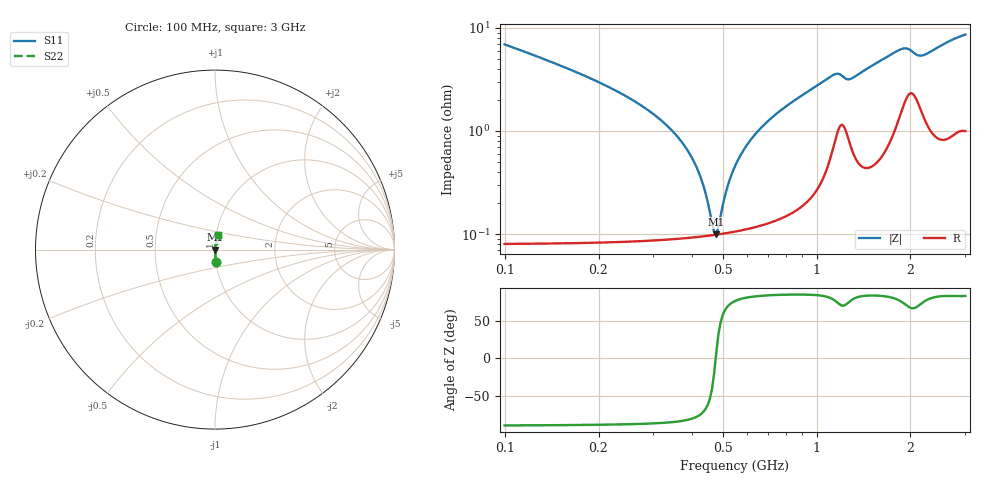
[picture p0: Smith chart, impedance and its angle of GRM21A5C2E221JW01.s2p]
!Murata Part Number: GRM21A5C2E221JW01
!These Parameters are Measured in Series Mode Connection
!Data Generated on Mar 30, 2021
!  o--ll--o
!Port1  Port2
!  o------o
!Operation Temp=25[degC], DC Bias Voltage=0[V]
!Freq. Start=100[MHz] Stop=3[GHz] 401[Steps]
# Hz S RI R 50
!Freq.(Hz) S11(Real) S11(Imag) S21(Real) S21(Imag) S12(Real) S12(Imag) S22(Real) S22(Imag)
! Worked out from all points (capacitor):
!   401 points, 100 MHz to 3 GHz, reference 50 ohm
!   read as one part in series: C = 220 pF near 114.5 MHz
!   lowest |Z| = 99.5 mohm at 477 MHz (marker M1)
!   series resonance near 475 MHz, so ESL is about 510 pH
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1e8  0.00555 -0.0687  0.9944 0.0687  0.9944 0.0687  0.00555 -0.0687
3.1025e8  0.00105 -0.0134  0.9989 0.0134  0.9989 0.0134  0.00105 -0.0134
3.6825e8  0.000966 -0.00788  0.999 0.00788  0.999 0.00788  0.000966 -0.00788
4.19e8  0.000954 -0.00386  0.999 0.00386  0.999 0.00386  0.000954 -0.00386
4.335e8  0.000958 -0.00281  0.999 0.00281  0.999 0.00281  0.000958 -0.00281
4.625e8  0.000974 -0.000818  0.999 0.000818  0.999 0.000818  0.000974 -0.000818
4.77e8  0.000986 0.000132  0.999 -0.000132  0.999 -0.000132  0.000986 0.000132
4.8425e8  0.000992 0.000596  0.999 -0.000596  0.999 -0.000596  0.000992 0.000596
5.1325e8  0.00103 0.00239  0.999 -0.00239  0.999 -0.00239  0.00103 0.00239
5.35e8  0.00106 0.00368  0.9989 -0.00368  0.9989 -0.00368  0.00106 0.00368
5.8575e8  0.00114 0.00655  0.9989 -0.00655  0.9989 -0.00655  0.00114 0.00655
6.5825e8  0.00131 0.0104  0.9987 -0.0104  0.9987 -0.0104  0.00131 0.0104
7.525e8  0.0016 0.015  0.9984 -0.015  0.9984 -0.015  0.0016 0.015
1.0715e9  0.00499 0.0309  0.995 -0.0309  0.995 -0.0309  0.00499 0.0309
1.16575e9  0.0107 0.034  0.9893 -0.034  0.9893 -0.034  0.0107 0.034
1.28175e9  0.00826 0.0306  0.9917 -0.0306  0.9917 -0.0306  0.00826 0.0306
1.55e9  0.00682 0.0445  0.9932 -0.0445  0.9932 -0.0445  0.00682 0.0445
1.869e9  0.0185 0.0584  0.9815 -0.0584  0.9815 -0.0584  0.0185 0.0584
2.03575e9  0.0251 0.0512  0.9749 -0.0512  0.9749 -0.0512  0.0251 0.0512
2.18075e9  0.0171 0.0503  0.9829 -0.0503  0.9829 -0.0503  0.0171 0.0503
2.5215e9  0.0126 0.0662  0.9874 -0.0662  0.9874 -0.0662  0.0126 0.0662
3e9  0.017 0.0835  0.983 -0.0835  0.983 -0.0835  0.017 0.0835
